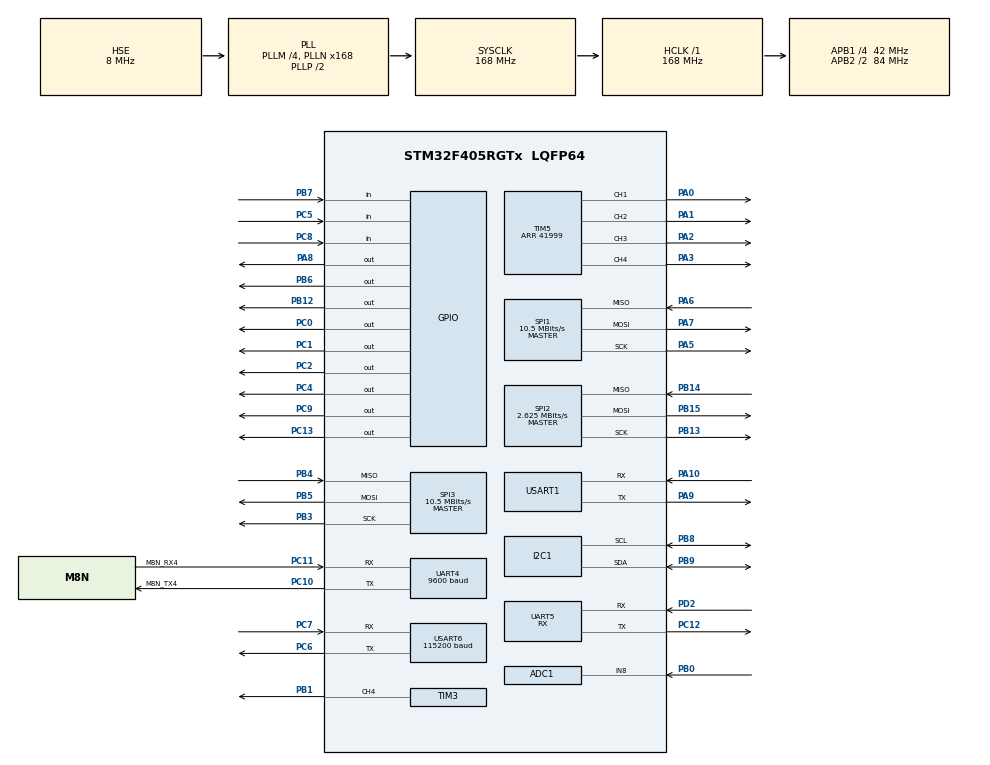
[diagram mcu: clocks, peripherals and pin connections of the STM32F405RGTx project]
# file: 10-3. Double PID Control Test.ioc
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ADC1.Channel-0\#ChannelRegularConversion=ADC_CHANNEL_8
ADC1.ClockPrescaler=ADC_CLOCK_SYNC_PCLK_DIV8
ADC1.ContinuousConvMode=ENABLE
ADC1.DMAContinuousRequests=ENABLE
ADC1.NbrOfConversionFlag=1
ADC1.Rank-0\#ChannelRegularConversion=1
ADC1.SamplingTime-0\#ChannelRegularConversion=ADC_SAMPLETIME_480CYCLES
ADC1.master=1
Dma.ADC1.0.Direction=DMA_PERIPH_TO_MEMORY
Dma.ADC1.0.FIFOMode=DMA_FIFOMODE_DISABLE
Dma.ADC1.0.Instance=DMA2_Stream0
Dma.ADC1.0.MemDataAlignment=DMA_MDATAALIGN_HALFWORD
Dma.ADC1.0.MemInc=DMA_MINC_DISABLE
Dma.ADC1.0.Mode=DMA_CIRCULAR
Dma.ADC1.0.PeriphDataAlignment=DMA_PDATAALIGN_HALFWORD
Dma.ADC1.0.PeriphInc=DMA_PINC_DISABLE
Dma.ADC1.0.Priority=DMA_PRIORITY_LOW
Dma.Request0=ADC1
I2C1.I2C_Mode=I2C_Fast
Mcu.Family=STM32F4
Mcu.Name=STM32F405RGTx
Mcu.Package=LQFP64
NVIC.DMA2_Stream0_IRQn=true\:0\:0\:false\:false\:true\:false\:true
NVIC.PriorityGroup=NVIC_PRIORITYGROUP_4
NVIC.TIM7_IRQn=true\:0\:0\:false\:false\:true\:true\:true
NVIC.UART4_IRQn=true\:0\:0\:false\:false\:true\:true\:true
NVIC.UART5_IRQn=true\:0\:0\:false\:false\:true\:true\:true
NVIC.USART1_IRQn=true\:0\:0\:false\:false\:true\:true\:true
NVIC.USART6_IRQn=true\:0\:0\:false\:false\:true\:true\:true
PA0-WKUP.Signal=S_TIM5_CH1
PA1.Signal=S_TIM5_CH2
PA10.Mode=Asynchronous
PA10.Signal=USART1_RX
PA2.Signal=S_TIM5_CH3
PA3.Signal=S_TIM5_CH4
PA5.Mode=Full_Duplex_Master
PA5.Signal=SPI1_SCK
PA6.Mode=Full_Duplex_Master
PA6.Signal=SPI1_MISO
PA7.Mode=Full_Duplex_Master
PA7.Signal=SPI1_MOSI
PA8.Signal=GPIO_Output
PA9.Mode=Asynchronous
PA9.Signal=USART1_TX
PB0.Signal=ADCx_IN8
PB1.Signal=S_TIM3_CH4
PB12.Signal=GPIO_Output
PB13.Mode=Full_Duplex_Master
PB13.Signal=SPI2_SCK
PB14.Mode=Full_Duplex_Master
PB14.Signal=SPI2_MISO
PB15.Mode=Full_Duplex_Master
PB15.Signal=SPI2_MOSI
PB3.Mode=Full_Duplex_Master
PB3.Signal=SPI3_SCK
PB4.Mode=Full_Duplex_Master
PB4.Signal=SPI3_MISO
PB5.Mode=Full_Duplex_Master
PB5.Signal=SPI3_MOSI
PB6.Signal=GPIO_Output
PB7.Signal=GPIO_Input
PB8.Mode=I2C
PB8.Signal=I2C1_SCL
PB9.Mode=I2C
PB9.Signal=I2C1_SDA
PC0.Signal=GPIO_Output
PC1.Signal=GPIO_Output
PC10.GPIO_Label=M8N_TX4
PC10.Mode=Asynchronous
PC10.Signal=UART4_TX
PC11.GPIO_Label=M8N_RX4
PC11.Mode=Asynchronous
PC11.Signal=UART4_RX
PC12.Mode=Asynchronous
PC12.Signal=UART5_TX
PC13-ANTI_TAMP.PinState=GPIO_PIN_SET
PC13-ANTI_TAMP.Signal=GPIO_Output
PC2.Signal=GPIO_Output
PC4.Signal=GPIO_Output
PC5.Signal=GPIO_Input
PC6.Mode=Asynchronous
PC6.Signal=USART6_TX
PC7.Mode=Asynchronous
PC7.Signal=USART6_RX
PC8.Signal=GPIO_Input
PC9.Signal=GPIO_Output
PD2.Mode=Asynchronous
PD2.Signal=UART5_RX
PH0-OSC_IN.Mode=HSE-External-Oscillator
PH0-OSC_IN.Signal=RCC_OSC_IN
PH1-OSC_OUT.Mode=HSE-External-Oscillator
PH1-OSC_OUT.Signal=RCC_OSC_OUT
ProjectManager.HeapSize=0x200
ProjectManager.StackSize=0x400
ProjectManager.TargetToolchain=STM32CubeIDE
RCC.48MHZClocksFreq_Value=84000000
RCC.AHBFreq_Value=168000000
RCC.APB1CLKDivider=RCC_HCLK_DIV4
RCC.APB1Freq_Value=42000000
RCC.APB1TimFreq_Value=84000000
RCC.APB2CLKDivider=RCC_HCLK_DIV2
RCC.APB2Freq_Value=84000000
RCC.APB2TimFreq_Value=168000000
RCC.CortexFreq_Value=168000000
RCC.HCLKFreq_Value=168000000
RCC.HSE_VALUE=8000000
RCC.HSI_VALUE=16000000
RCC.LSE_VALUE=32768
RCC.PLLM=4
RCC.PLLN=168
RCC.PLLSourceVirtual=RCC_PLLSOURCE_HSE
RCC.SYSCLKFreq_VALUE=168000000
RCC.SYSCLKSource=RCC_SYSCLKSOURCE_PLLCLK
RCC.VCOOutputFreq_Value=336000000
SH.ADCx_IN8.0=ADC1_IN8,IN8
SH.S_TIM3_CH4.0=TIM3_CH4,PWM Generation4 CH4
SH.S_TIM5_CH1.0=TIM5_CH1,PWM Generation1 CH1
SH.S_TIM5_CH2.0=TIM5_CH2,PWM Generation2 CH2
SH.S_TIM5_CH3.0=TIM5_CH3,PWM Generation3 CH3
SH.S_TIM5_CH4.0=TIM5_CH4,PWM Generation4 CH4
SPI1.BaudRatePrescaler=SPI_BAUDRATEPRESCALER_8
SPI1.CLKPhase=SPI_PHASE_2EDGE
SPI1.CLKPolarity=SPI_POLARITY_HIGH
SPI1.CalculateBaudRate=10.5 MBits/s
SPI1.Direction=SPI_DIRECTION_2LINES
SPI1.Mode=SPI_MODE_MASTER
SPI1.VirtualType=VM_MASTER
SPI2.BaudRatePrescaler=SPI_BAUDRATEPRESCALER_16
SPI2.CLKPhase=SPI_PHASE_2EDGE
SPI2.CLKPolarity=SPI_POLARITY_HIGH
SPI2.CalculateBaudRate=2.625 MBits/s
SPI2.Direction=SPI_DIRECTION_2LINES
SPI2.Mode=SPI_MODE_MASTER
SPI2.VirtualType=VM_MASTER
SPI3.BaudRatePrescaler=SPI_BAUDRATEPRESCALER_4
SPI3.CLKPhase=SPI_PHASE_2EDGE
SPI3.CLKPolarity=SPI_POLARITY_HIGH
SPI3.CalculateBaudRate=10.5 MBits/s
SPI3.Direction=SPI_DIRECTION_2LINES
SPI3.Mode=SPI_MODE_MASTER
SPI3.VirtualType=VM_MASTER
TIM3.AutoReloadPreload=TIM_AUTORELOAD_PRELOAD_ENABLE
TIM3.Channel-PWM\ Generation4\ CH4=TIM_CHANNEL_4
TIM3.OCFastMode_PWM-PWM\ Generation4\ CH4=TIM_OCFAST_ENABLE
TIM3.Period=20
TIM3.Prescaler=999
TIM3.Pulse-PWM\ Generation4\ CH4=10
TIM5.AutoReloadPreload=TIM_AUTORELOAD_PRELOAD_ENABLE
TIM5.Channel-PWM\ Generation1\ CH1=TIM_CHANNEL_1
TIM5.Channel-PWM\ Generation2\ CH2=TIM_CHANNEL_2
TIM5.Channel-PWM\ Generation3\ CH3=TIM_CHANNEL_3
TIM5.Channel-PWM\ Generation4\ CH4=TIM_CHANNEL_4
TIM5.OCFastMode_PWM-PWM\ Generation1\ CH1=TIM_OCFAST_ENABLE
TIM5.OCFastMode_PWM-PWM\ Generation2\ CH2=TIM_OCFAST_ENABLE
TIM5.OCFastMode_PWM-PWM\ Generation3\ CH3=TIM_OCFAST_ENABLE
TIM5.OCFastMode_PWM-PWM\ Generation4\ CH4=TIM_OCFAST_ENABLE
TIM5.Period=41999
TIM5.Pulse-PWM\ Generation1\ CH1=0
TIM5.Pulse-PWM\ Generation2\ CH2=0
TIM5.Pulse-PWM\ Generation3\ CH3=0
TIM7.AutoReloadPreload=TIM_AUTORELOAD_PRELOAD_ENABLE
TIM7.Period=1
TIM7.Prescaler=41999
UART4.BaudRate=9600
UART4.VirtualMode=Asynchronous
UART5.Mode=MODE_RX
UART5.VirtualMode=Asynchronous
USART1.VirtualMode=VM_ASYNC
USART6.BaudRate=115200
USART6.VirtualMode=VM_ASYNC
VP_TIM3_VS_ClockSourceINT.Mode=Internal
VP_TIM5_VS_ClockSourceINT.Mode=Internal
VP_TIM7_VS_ClockSourceINT.Mode=Enable_Timer
board=custom

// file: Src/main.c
/* USER CODE BEGIN Header */
/**
  ******************************************************************************
  * @file           : main.c
  * @brief          : Main program body
  ******************************************************************************
  * @attention
  *
  * <h2><center>&copy; Copyright (c) 2019 STMicroelectronics.
  * All rights reserved.</center></h2>
  *
  * This software component is licensed by ST under BSD 3-Clause license,
  * the "License"; You may not use this file except in compliance with the
  * License. You may obtain a copy of the License at:
  *                        opensource.org/licenses/BSD-3-Clause
  *
  ******************************************************************************
  */
/* USER CODE END Header */

#include "main.h"
#include "adc.h"
#include "dma.h"
#include "i2c.h"
#include "spi.h"
#include "tim.h"
#include "usart.h"
#include "gpio.h"

/* USER CODE BEGIN Includes */
#include "bno080.h"
#include "quaternion.h"
#include "icm20602.h"
#include "lps22hh.h"
#include "M8N.h"
#include "FS-iA6B.h"
#include "AT24C08.h"
#include <string.h>
/* USER CODE END Includes */

/* USER CODE BEGIN PTD */
int _write(int file, char* p, int len)
{
	for(int i=0;i<len;i++)
	{
		while(!LL_USART_IsActiveFlag_TXE(USART6));
		LL_USART_TransmitData8(USART6, *(p+i));
	}
	return len;
}
/* USER CODE END PTD */

/* USER CODE BEGIN PV */
extern uint8_t uart6_rx_flag;
extern uint8_t uart6_rx_data;

extern uint8_t m8n_rx_buf[36];
extern uint8_t m8n_rx_cplt_flag;

extern uint8_t ibus_rx_buf[32];
extern uint8_t ibus_rx_cplt_flag;

extern uint8_t uart1_rx_data;

extern uint8_t tim7_1ms_flag;
extern uint8_t tim7_20ms_flag;
extern uint8_t tim7_100ms_flag;
extern uint8_t tim7_1000ms_flag;

uint8_t telemetry_tx_buf[40];
uint8_t telemetry_rx_buf[20];
uint8_t telemetry_rx_cplt_flag;
float batVolt;

float roll_in_kp;
float roll_in_ki;
float roll_in_kd;

float roll_out_kp;
float roll_out_ki;
float roll_out_kd;

float pitch_in_kp;
float pitch_in_ki;
float pitch_in_kd;

float pitch_out_kp;
float pitch_out_ki;
float pitch_out_kd;

float yaw_heading_kp;
float yaw_heading_ki;
float yaw_heading_kd;

float yaw_rate_kp;
float yaw_rate_ki;
float yaw_rate_kd;

unsigned char failsafe_flag = 0;
unsigned char low_bat_flag = 0;
/* USER CODE END PV */

void SystemClock_Config(void);
/* USER CODE BEGIN PFP */
int Is_iBus_Throttle_Min(void);
void ESC_Calibration(void);
int Is_iBus_Received(void);
void BNO080_Calibration(void);
void Encode_Msg_AHRS(unsigned char* telemetry_tx_buf);
void Encode_Msg_GPS(unsigned char* telemetry_tx_buf);
void Encode_Msg_PID_Gain(unsigned char* telemetry_tx_buf, unsigned char id, float p, float i, float d);
/* USER CODE END PFP */

int main(void)
{
  /* USER CODE BEGIN 1 */
	float q[4];
	float quatRadianAccuracy;
	unsigned char buf_read[16] = {1};
	unsigned char buf_write[16] = {1, 2, 3, 4, 5, 6, 7, 8, 9, 10, 11, 12, 13, 14, 15, 16};
	unsigned short adcVal;

	short gyro_x_offset = 1, gyro_y_offset = -23, gyro_z_offset = -3;
	unsigned char motor_arming_flag = 0;
	unsigned short iBus_SwA_Prev = 0;
	unsigned char iBus_rx_cnt = 0;
	unsigned short ccr1, ccr2, ccr3, ccr4;
	float pitch_reference;
	float pitch_p;
	float pitch_error;
	float pitch_i;
	float pitch_error_sum = 0;
	float pitch_derivative;
	float pitch_d;
	float pitch_pid;

	float pitch_rate_reference;
	float pitch_rate_p;
	float pitch_rate_error;
	float pitch_rate_i;
	float pitch_rate_error_sum = 0;
	float pitch_rate_derivative;
	float pitch_rate_d;
	float pitch_rate_pid;
	float icm20602_gyro_x_prev;
  /* USER CODE END 1 */

  /* MCU Configuration--------------------------------------------------------*/

  /* Reset of all peripherals, Initializes the Flash interface and the Systick. */
  HAL_Init();

  /* Configure the system clock */
  SystemClock_Config();

  /* Initialize all configured peripherals */
  MX_GPIO_Init();
  MX_TIM3_Init();
  MX_USART6_UART_Init();
  MX_SPI2_Init();
  MX_SPI1_Init();
  MX_SPI3_Init();
  MX_UART4_Init();
  MX_UART5_Init();
  MX_TIM5_Init();
  MX_I2C1_Init();
  MX_DMA_Init();
  MX_ADC1_Init();
  MX_USART1_UART_Init();
  MX_TIM7_Init();
  /* USER CODE BEGIN 2 */
  LL_TIM_EnableCounter(TIM3); //Buzzer

  LL_USART_EnableIT_RXNE(USART6); //Debug UART
  LL_USART_EnableIT_RXNE(UART4); //GPS
  LL_USART_EnableIT_RXNE(UART5); //FS-iA6B

  LL_TIM_EnableCounter(TIM5); //Motor PWM
  LL_TIM_CC_EnableChannel(TIM5, LL_TIM_CHANNEL_CH1);
  LL_TIM_CC_EnableChannel(TIM5, LL_TIM_CHANNEL_CH2);
  LL_TIM_CC_EnableChannel(TIM5, LL_TIM_CHANNEL_CH3);
  LL_TIM_CC_EnableChannel(TIM5, LL_TIM_CHANNEL_CH4);

  HAL_ADC_Start_DMA(&hadc1, &adcVal, 1); //Battery ADC

  HAL_UART_Receive_IT(&huart1, &uart1_rx_data, 1); //Telemetry

  LL_TIM_EnableCounter(TIM7); //10Hz, 50Hz, 1kHz loop
  LL_TIM_EnableIT_UPDATE(TIM7);

  TIM3->PSC = 1000;
  LL_TIM_CC_EnableChannel(TIM3, LL_TIM_CHANNEL_CH4);
  HAL_Delay(60);
  LL_TIM_CC_DisableChannel(TIM3, LL_TIM_CHANNEL_CH4);
  HAL_Delay(60);
  LL_TIM_CC_EnableChannel(TIM3, LL_TIM_CHANNEL_CH4);
  HAL_Delay(60);
  LL_TIM_CC_DisableChannel(TIM3, LL_TIM_CHANNEL_CH4);
  HAL_Delay(60);
  printf("Checking sensor connection..\n");

  if(BNO080_Initialization() != 0)
  {
	  LL_TIM_CC_EnableChannel(TIM3, LL_TIM_CHANNEL_CH4);

	  TIM3->PSC = 1000;
	  HAL_Delay(100);
	  TIM3->PSC = 1500;
	  HAL_Delay(100);
	  TIM3->PSC = 2000;
	  HAL_Delay(100);

	  LL_TIM_CC_DisableChannel(TIM3, LL_TIM_CHANNEL_CH4);

	  printf("\nBNO080 failed. Program shutting down...\n");
	  while(1)
	  {
		  LL_TIM_CC_DisableChannel(TIM3, LL_TIM_CHANNEL_CH4);
		  LL_GPIO_TogglePin(GPIOC, LL_GPIO_PIN_0);
		  HAL_Delay(200);
		  LL_TIM_CC_EnableChannel(TIM3, LL_TIM_CHANNEL_CH4);
		  LL_GPIO_TogglePin(GPIOC, LL_GPIO_PIN_0);
		  HAL_Delay(200);
	  }
  }
  BNO080_enableRotationVector(2500);

  if(ICM20602_Initialization() != 0)
  {
	  LL_TIM_CC_EnableChannel(TIM3, LL_TIM_CHANNEL_CH4);

	  TIM3->PSC = 1000;
	  HAL_Delay(100);
	  TIM3->PSC = 1500;
	  HAL_Delay(100);
	  TIM3->PSC = 2000;
	  HAL_Delay(100);

	  LL_TIM_CC_DisableChannel(TIM3, LL_TIM_CHANNEL_CH4);

	  printf("\nICM-20602 failed. Program shutting down...\n");
	  while(1)
	  {
		  LL_TIM_CC_DisableChannel(TIM3, LL_TIM_CHANNEL_CH4);
		  LL_GPIO_TogglePin(GPIOC, LL_GPIO_PIN_1);
		  HAL_Delay(200);
		  LL_TIM_CC_EnableChannel(TIM3, LL_TIM_CHANNEL_CH4);
		  LL_GPIO_TogglePin(GPIOC, LL_GPIO_PIN_1);
		  HAL_Delay(200);
	  }
  }

  if(LPS22HH_Initialization() != 0)
  {
	  LL_TIM_CC_EnableChannel(TIM3, LL_TIM_CHANNEL_CH4);

	  TIM3->PSC = 1000;
	  HAL_Delay(100);
	  TIM3->PSC = 1500;
	  HAL_Delay(100);
	  TIM3->PSC = 2000;
	  HAL_Delay(100);

	  LL_TIM_CC_DisableChannel(TIM3, LL_TIM_CHANNEL_CH4);

	  printf("\nLPS22HH failed. Program shutting down...\n");
	  while(1)
	  {
		  LL_TIM_CC_DisableChannel(TIM3, LL_TIM_CHANNEL_CH4);
		  LL_GPIO_TogglePin(GPIOC, LL_GPIO_PIN_2);
		  HAL_Delay(200);
		  LL_TIM_CC_EnableChannel(TIM3, LL_TIM_CHANNEL_CH4);
		  LL_GPIO_TogglePin(GPIOC, LL_GPIO_PIN_2);
		  HAL_Delay(200);
	  }
  }

  printf("All sensors OK!\n\n");

  M8N_Initialization();

  ICM20602_Writebyte(0x13, (gyro_x_offset*-2)>>8);
  ICM20602_Writebyte(0x14, (gyro_x_offset*-2));

  ICM20602_Writebyte(0x15, (gyro_y_offset*-2)>>8);
  ICM20602_Writebyte(0x16, (gyro_y_offset*-2));

  ICM20602_Writebyte(0x17, (gyro_z_offset*-2)>>8);
  ICM20602_Writebyte(0x18, (gyro_z_offset*-2));

  printf("Loading PID Gain...\n");

  if(EP_PIDGain_Read(0, &roll_in_kp, &roll_in_ki, &roll_in_kd) != 0 ||
		  EP_PIDGain_Read(1, &roll_out_kp, &roll_out_ki, &roll_out_kd) != 0 ||
		  EP_PIDGain_Read(2, &pitch_in_kp, &pitch_in_ki, &pitch_in_kd) != 0 ||
		  EP_PIDGain_Read(3, &pitch_out_kp, &pitch_out_ki, &pitch_out_kd) != 0 ||
		  EP_PIDGain_Read(4, &yaw_heading_kp, &yaw_heading_ki, &yaw_heading_kd) != 0 ||
		  EP_PIDGain_Read(5, &yaw_rate_kp, &yaw_rate_ki, &yaw_rate_kd) != 0)
  {
	  LL_TIM_CC_EnableChannel(TIM3, LL_TIM_CHANNEL_CH4);

	  TIM3->PSC = 1000;
	  HAL_Delay(100);
	  TIM3->PSC = 1500;
	  HAL_Delay(100);
	  TIM3->PSC = 2000;
	  HAL_Delay(100);

	  LL_TIM_CC_DisableChannel(TIM3, LL_TIM_CHANNEL_CH4);

	  HAL_Delay(500);
	  printf("\nCouldn't load PID gain.\n");
  }
  else
  {
	  Encode_Msg_PID_Gain(&telemetry_tx_buf[0], 0, roll_in_kp, roll_in_ki, roll_in_kd);
	  HAL_UART_Transmit(&huart1, &telemetry_tx_buf[0], 20, 10);
	  Encode_Msg_PID_Gain(&telemetry_tx_buf[0], 1, roll_out_kp, roll_out_ki, roll_out_kd);
	  HAL_UART_Transmit(&huart1, &telemetry_tx_buf[0], 20, 10);
	  Encode_Msg_PID_Gain(&telemetry_tx_buf[0], 2, pitch_in_kp, pitch_in_ki, pitch_in_kd);
	  HAL_UART_Transmit(&huart1, &telemetry_tx_buf[0], 20, 10);
	  Encode_Msg_PID_Gain(&telemetry_tx_buf[0], 3, pitch_out_kp, pitch_out_ki, pitch_out_kd);
	  HAL_UART_Transmit(&huart1, &telemetry_tx_buf[0], 20, 10);
	  Encode_Msg_PID_Gain(&telemetry_tx_buf[0], 4, yaw_heading_kp, yaw_heading_ki, yaw_heading_kd);
	  HAL_UART_Transmit(&huart1, &telemetry_tx_buf[0], 20, 10);
	  Encode_Msg_PID_Gain(&telemetry_tx_buf[0], 5, yaw_rate_kp, yaw_rate_ki, yaw_rate_kd);
	  HAL_UART_Transmit(&huart1, &telemetry_tx_buf[0], 20, 10);
	  printf("\nAll gains OK!\n\n");
  }

  while(Is_iBus_Received() == 0)
  {
	  LL_TIM_CC_EnableChannel(TIM3, LL_TIM_CHANNEL_CH4);

	  TIM3->PSC = 3000;
	  HAL_Delay(200);
	  LL_TIM_CC_DisableChannel(TIM3, LL_TIM_CHANNEL_CH4);
	  HAL_Delay(200);
  }

  if(iBus.SwC == 2000)
  {
	  LL_TIM_CC_EnableChannel(TIM3, LL_TIM_CHANNEL_CH4);

	  TIM3->PSC = 1500;
	  HAL_Delay(200);
	  TIM3->PSC = 2000;
	  HAL_Delay(200);
	  TIM3->PSC = 1500;
	  HAL_Delay(200);
	  TIM3->PSC = 2000;
	  HAL_Delay(200);
	  LL_TIM_CC_DisableChannel(TIM3, LL_TIM_CHANNEL_CH4);

	  ESC_Calibration();
	  while(iBus.SwC != 1000)
	  {
		  Is_iBus_Received();
		  LL_TIM_CC_EnableChannel(TIM3, LL_TIM_CHANNEL_CH4);

		  TIM3->PSC = 1500;
		  HAL_Delay(200);
		  TIM3->PSC = 2000;
		  HAL_Delay(200);
		  LL_TIM_CC_DisableChannel(TIM3, LL_TIM_CHANNEL_CH4);
	  }
  }
  else if(iBus.SwC == 1500)
  {
	  LL_TIM_CC_EnableChannel(TIM3, LL_TIM_CHANNEL_CH4);

	  TIM3->PSC = 1500;
	  HAL_Delay(200);
	  TIM3->PSC = 2000;
	  HAL_Delay(200);
	  TIM3->PSC = 1500;
	  HAL_Delay(200);
	  TIM3->PSC = 2000;
	  HAL_Delay(200);
	  LL_TIM_CC_DisableChannel(TIM3, LL_TIM_CHANNEL_CH4);

	  BNO080_Calibration();
	  while(iBus.SwC != 1000)
	  {
		  Is_iBus_Received();
		  LL_TIM_CC_EnableChannel(TIM3, LL_TIM_CHANNEL_CH4);

		  TIM3->PSC = 1500;
		  HAL_Delay(200);
		  TIM3->PSC = 2000;
		  HAL_Delay(200);
		  LL_TIM_CC_DisableChannel(TIM3, LL_TIM_CHANNEL_CH4);
	  }
  }
//
//
  while(Is_iBus_Throttle_Min() == 0 || iBus.SwA == 2000)
  {
	  LL_TIM_CC_EnableChannel(TIM3, LL_TIM_CHANNEL_CH4);

	  TIM3->PSC = 1000;
	  HAL_Delay(70);
	  LL_TIM_CC_DisableChannel(TIM3, LL_TIM_CHANNEL_CH4);
	  HAL_Delay(70);
  }

  LL_TIM_CC_EnableChannel(TIM3, LL_TIM_CHANNEL_CH4);

  TIM3->PSC = 2000;
  HAL_Delay(100);
  TIM3->PSC = 1500;
  HAL_Delay(100);
  TIM3->PSC = 1000;
  HAL_Delay(100);

  LL_TIM_CC_DisableChannel(TIM3, LL_TIM_CHANNEL_CH4);

  printf("Start\n");

  /* USER CODE END 2 */

  /* Infinite loop */
  while (1)
  {

    /* USER CODE BEGIN 3 */
	  if(tim7_1ms_flag == 1)
	  {
		  tim7_1ms_flag = 0;

		  pitch_reference = (iBus.RV - 1500) * 0.1f;
		  pitch_error = pitch_reference - BNO080_Pitch;
		  pitch_p = pitch_error * pitch_out_kp;

		  pitch_error_sum = pitch_error_sum + pitch_error * 0.001;
		  if(motor_arming_flag == 0 || iBus.LV < 1030) pitch_error_sum = 0;
		  pitch_i = pitch_error_sum * pitch_out_ki;

//		  pitch_derivative = (BNO080_Pitch - BNO080_Pitch_Prev) / 0.001;
//		  BNO080_Pitch_Prev = BNO080_Pitch;

		  pitch_derivative = ICM20602.gyro_x;
		  pitch_d = -pitch_derivative * pitch_out_kd;

		  pitch_pid = pitch_p + pitch_i + pitch_d;

		  pitch_rate_reference = pitch_pid;
		  pitch_rate_error = pitch_rate_reference - ICM20602.gyro_x;
		  pitch_rate_p = pitch_rate_error * pitch_in_kp;

		  pitch_rate_error_sum = pitch_rate_error_sum + pitch_rate_error * 0.001;
		  if(motor_arming_flag == 0 || iBus.LV < 1030) pitch_rate_error_sum = 0;
		  pitch_rate_i = pitch_rate_error_sum * pitch_in_ki;

		  pitch_rate_derivative = (ICM20602.gyro_x - icm20602_gyro_x_prev) / 0.001;
		  icm20602_gyro_x_prev = ICM20602.gyro_x;
		  pitch_rate_d = -pitch_rate_derivative * pitch_in_kd;

		  pitch_rate_pid = pitch_rate_p + pitch_rate_i + pitch_rate_d;

		  ccr1 = 10500 + 500 + (iBus.LV - 1000) * 10 - pitch_rate_pid;// + (iBus.RH - 1500) * 5 - (iBus.LH - 1500) * 5;
		  ccr2 = 10500 + 500 + (iBus.LV - 1000) * 10 + pitch_rate_pid;// + (iBus.RH - 1500) * 5 + (iBus.LH - 1500) * 5;
		  ccr3 = 10500 + 500 + (iBus.LV - 1000) * 10 + pitch_rate_pid;// - (iBus.RH - 1500) * 5 - (iBus.LH - 1500) * 5;
		  ccr4 = 10500 + 500 + (iBus.LV - 1000) * 10 - pitch_rate_pid;// - (iBus.RH - 1500) * 5 + (iBus.LH - 1500) * 5;

		  //printf("%f\t%f\n", BNO080_Pitch, ICM20602.gyro_x);
		  //printf("%f\t%f\n", BNO080_Roll, ICM20602.gyro_y);
		  //printf("%f\t%f\n", BNO080_Yaw, ICM20602.gyro_z);
	  }

	  if(iBus.SwA == 2000 && iBus_SwA_Prev != 2000)
	  {
		  if(iBus.LV < 1010)
		  {
			  motor_arming_flag = 1;
		  }
		  else
		  {
			  while(Is_iBus_Throttle_Min() == 0 || iBus.SwA == 2000)
			  {
				  LL_TIM_CC_EnableChannel(TIM3, LL_TIM_CHANNEL_CH4);

				  TIM3->PSC = 1000;
				  HAL_Delay(70);
				  LL_TIM_CC_DisableChannel(TIM3, LL_TIM_CHANNEL_CH4);
				  HAL_Delay(70);
			  }
		  }
	  }
	  iBus_SwA_Prev = iBus.SwA;

	  if(iBus.SwA != 2000)
	  {
		  motor_arming_flag = 0;
	  }

	  if(motor_arming_flag == 1)
	  {
		  if(failsafe_flag == 0)
		  {
			  if(iBus.LV > 1030)
			  {
				  TIM5->CCR1 = ccr1 > 21000 ? 21000 : ccr1 < 11000 ? 11000 : ccr1;
				  TIM5->CCR2 = ccr2 > 21000 ? 21000 : ccr2 < 11000 ? 11000 : ccr2;
				  TIM5->CCR3 = ccr3 > 21000 ? 21000 : ccr3 < 11000 ? 11000 : ccr3;
				  TIM5->CCR4 = ccr4 > 21000 ? 21000 : ccr4 < 11000 ? 11000 : ccr4;
			  }
			  else
			  {
				  TIM5->CCR1 = 11000;
				  TIM5->CCR2 = 11000;
				  TIM5->CCR3 = 11000;
				  TIM5->CCR4 = 11000;
			  }
		  }
		  else
		  {
			  TIM5->CCR1 = 10500;
			  TIM5->CCR2 = 10500;
			  TIM5->CCR3 = 10500;
			  TIM5->CCR4 = 10500;
		  }
	  }
	  else
	  {
		  TIM5->CCR1 = 10500;
		  TIM5->CCR2 = 10500;
		  TIM5->CCR3 = 10500;
		  TIM5->CCR4 = 10500;
	  }

	  if(telemetry_rx_cplt_flag == 1)
	  {
		  telemetry_rx_cplt_flag = 0;

		  if(iBus.SwA == 1000)
		  {
			  unsigned char chksum = 0xff;
			  for(int i=0;i<19;i++) chksum = chksum - telemetry_rx_buf[i];

			  if(chksum == telemetry_rx_buf[19])
			  {
				  LL_TIM_CC_EnableChannel(TIM3, LL_TIM_CHANNEL_CH4);

				  TIM3->PSC = 1000;
				  HAL_Delay(10);

				  LL_TIM_CC_DisableChannel(TIM3, LL_TIM_CHANNEL_CH4);

				  switch(telemetry_rx_buf[2])
				  {
				  case 0:
					  roll_in_kp = *(float*)&telemetry_rx_buf[3];
					  roll_in_ki = *(float*)&telemetry_rx_buf[7];
					  roll_in_kd = *(float*)&telemetry_rx_buf[11];
					  EP_PIDGain_Write(telemetry_rx_buf[2], roll_in_kp, roll_in_ki, roll_in_kd);
					  EP_PIDGain_Read(telemetry_rx_buf[2], &roll_in_kp, &roll_in_ki, &roll_in_kd);
					  Encode_Msg_PID_Gain(&telemetry_tx_buf[0], telemetry_rx_buf[2], roll_in_kp, roll_in_ki, roll_in_kd);
					  HAL_UART_Transmit_IT(&huart1, &telemetry_tx_buf[0], 20);
					  break;
				  case 1:
					  roll_out_kp = *(float*)&telemetry_rx_buf[3];
					  roll_out_ki = *(float*)&telemetry_rx_buf[7];
					  roll_out_kd = *(float*)&telemetry_rx_buf[11];
					  EP_PIDGain_Write(telemetry_rx_buf[2], roll_out_kp, roll_out_ki, roll_out_kd);
					  EP_PIDGain_Read(telemetry_rx_buf[2], &roll_out_kp, &roll_out_ki, &roll_out_kd);
					  Encode_Msg_PID_Gain(&telemetry_tx_buf[0], telemetry_rx_buf[2], roll_out_kp, roll_out_ki, roll_out_kd);
					  HAL_UART_Transmit_IT(&huart1, &telemetry_tx_buf[0], 20);
					  break;
				  case 2:
					  pitch_in_kp = *(float*)&telemetry_rx_buf[3];
					  pitch_in_ki = *(float*)&telemetry_rx_buf[7];
					  pitch_in_kd = *(float*)&telemetry_rx_buf[11];
					  EP_PIDGain_Write(telemetry_rx_buf[2], pitch_in_kp, pitch_in_ki, pitch_in_kd);
					  EP_PIDGain_Read(telemetry_rx_buf[2], &pitch_in_kp, &pitch_in_ki, &pitch_in_kd);
					  Encode_Msg_PID_Gain(&telemetry_tx_buf[0], telemetry_rx_buf[2], pitch_in_kp, pitch_in_ki, pitch_in_kd);
					  HAL_UART_Transmit_IT(&huart1, &telemetry_tx_buf[0], 20);
					  break;
				  case 3:
					  pitch_out_kp = *(float*)&telemetry_rx_buf[3];
					  pitch_out_ki = *(float*)&telemetry_rx_buf[7];
					  pitch_out_kd = *(float*)&telemetry_rx_buf[11];
					  EP_PIDGain_Write(telemetry_rx_buf[2], pitch_out_kp, pitch_out_ki, pitch_out_kd);
					  EP_PIDGain_Read(telemetry_rx_buf[2], &pitch_out_kp, &pitch_out_ki, &pitch_out_kd);
					  Encode_Msg_PID_Gain(&telemetry_tx_buf[0], telemetry_rx_buf[2], pitch_out_kp, pitch_out_ki, pitch_out_kd);
					  HAL_UART_Transmit_IT(&huart1, &telemetry_tx_buf[0], 20);
					  break;
				  case 4:
					  yaw_heading_kp = *(float*)&telemetry_rx_buf[3];
					  yaw_heading_ki = *(float*)&telemetry_rx_buf[7];
					  yaw_heading_kd = *(float*)&telemetry_rx_buf[11];
					  EP_PIDGain_Write(telemetry_rx_buf[2], yaw_heading_kp, yaw_heading_ki, yaw_heading_kd);
					  EP_PIDGain_Read(telemetry_rx_buf[2], &yaw_heading_kp, &yaw_heading_ki, &yaw_heading_kd);
					  Encode_Msg_PID_Gain(&telemetry_tx_buf[0], telemetry_rx_buf[2], yaw_heading_kp, yaw_heading_ki, yaw_heading_kd);
					  HAL_UART_Transmit_IT(&huart1, &telemetry_tx_buf[0], 20);
					  break;
				  case 5:
					  yaw_rate_kp = *(float*)&telemetry_rx_buf[3];
					  yaw_rate_ki = *(float*)&telemetry_rx_buf[7];
					  yaw_rate_kd = *(float*)&telemetry_rx_buf[11];
					  EP_PIDGain_Write(telemetry_rx_buf[2], yaw_rate_kp, yaw_rate_ki, yaw_rate_kd);
					  EP_PIDGain_Read(telemetry_rx_buf[2], &yaw_rate_kp, &yaw_rate_ki, &yaw_rate_kd);
					  Encode_Msg_PID_Gain(&telemetry_tx_buf[0], telemetry_rx_buf[2], yaw_rate_kp, yaw_rate_ki, yaw_rate_kd);
					  HAL_UART_Transmit_IT(&huart1, &telemetry_tx_buf[0], 20);
					  break;
				  case 0x10:
					  switch(telemetry_rx_buf[3])
					  {
					  case 0:
						  Encode_Msg_PID_Gain(&telemetry_tx_buf[0], telemetry_rx_buf[3], roll_in_kp, roll_in_ki, roll_in_kd);
						  HAL_UART_Transmit(&huart1, &telemetry_tx_buf[0], 20, 10);
						  break;
					  case 1:
						  Encode_Msg_PID_Gain(&telemetry_tx_buf[0], telemetry_rx_buf[3], roll_out_kp, roll_out_ki, roll_out_kd);
						  HAL_UART_Transmit(&huart1, &telemetry_tx_buf[0], 20, 10);
						  break;
					  case 2:
						  Encode_Msg_PID_Gain(&telemetry_tx_buf[0], telemetry_rx_buf[3], pitch_in_kp, pitch_in_ki, pitch_in_kd);
						  HAL_UART_Transmit(&huart1, &telemetry_tx_buf[0], 20, 10);
						  break;
					  case 3:
						  Encode_Msg_PID_Gain(&telemetry_tx_buf[0], telemetry_rx_buf[3], pitch_out_kp, pitch_out_ki, pitch_out_kd);
						  HAL_UART_Transmit(&huart1, &telemetry_tx_buf[0], 20, 10);
						  break;
					  case 4:
						  Encode_Msg_PID_Gain(&telemetry_tx_buf[0], telemetry_rx_buf[3], yaw_heading_kp, yaw_heading_ki, yaw_heading_kd);
						  HAL_UART_Transmit(&huart1, &telemetry_tx_buf[0], 20, 10);
						  break;
					  case 5:
						  Encode_Msg_PID_Gain(&telemetry_tx_buf[0], telemetry_rx_buf[3], yaw_rate_kp, yaw_rate_ki, yaw_rate_kd);
						  HAL_UART_Transmit(&huart1, &telemetry_tx_buf[0], 20, 10);
						  break;
					  case 6:
						  Encode_Msg_PID_Gain(&telemetry_tx_buf[0], 0, roll_in_kp, roll_in_ki, roll_in_kd);
						  HAL_UART_Transmit(&huart1, &telemetry_tx_buf[0], 20, 10);
						  Encode_Msg_PID_Gain(&telemetry_tx_buf[0], 1, roll_out_kp, roll_out_ki, roll_out_kd);
						  HAL_UART_Transmit(&huart1, &telemetry_tx_buf[0], 20, 10);
						  Encode_Msg_PID_Gain(&telemetry_tx_buf[0], 2, pitch_in_kp, pitch_in_ki, pitch_in_kd);
						  HAL_UART_Transmit(&huart1, &telemetry_tx_buf[0], 20, 10);
						  Encode_Msg_PID_Gain(&telemetry_tx_buf[0], 3, pitch_out_kp, pitch_out_ki, pitch_out_kd);
						  HAL_UART_Transmit(&huart1, &telemetry_tx_buf[0], 20, 10);
						  Encode_Msg_PID_Gain(&telemetry_tx_buf[0], 4, yaw_heading_kp, yaw_heading_ki, yaw_heading_kd);
						  HAL_UART_Transmit(&huart1, &telemetry_tx_buf[0], 20, 10);
						  Encode_Msg_PID_Gain(&telemetry_tx_buf[0], 5, yaw_rate_kp, yaw_rate_ki, yaw_rate_kd);
						  HAL_UART_Transmit(&huart1, &telemetry_tx_buf[0], 20, 10);
						  break;
					  }
					  break;

				  }
			  }
		  }
	  }

	  if(tim7_20ms_flag == 1 && tim7_100ms_flag != 1)
	  {
		  tim7_20ms_flag = 0;

		  Encode_Msg_AHRS(&telemetry_tx_buf[0]);

		  HAL_UART_Transmit_IT(&huart1, &telemetry_tx_buf[0], 20);
	  }

	  else if(tim7_20ms_flag == 1 && tim7_100ms_flag == 1)
	  {
		  tim7_20ms_flag = 0;
		  tim7_100ms_flag = 0;

		  Encode_Msg_AHRS(&telemetry_tx_buf[0]);
		  Encode_Msg_GPS(&telemetry_tx_buf[20]);

		  HAL_UART_Transmit_IT(&huart1, &telemetry_tx_buf[0], 40);
	  }

	  batVolt = adcVal * 0.003619f;
	  //printf("%d\t%.2f\n", adcVal, batVolt);
	  if(batVolt < 10.0f)
	  {
		  low_bat_flag = 1;
	  }
	  else
	  {
		  low_bat_flag = 0;
	  }

	  if(BNO080_dataAvailable() == 1)
	  {
		  LL_GPIO_TogglePin(GPIOC, LL_GPIO_PIN_0);

		  q[0] = BNO080_getQuatI();
		  q[1] = BNO080_getQuatJ();
		  q[2] = BNO080_getQuatK();
		  q[3] = BNO080_getQuatReal();
		  quatRadianAccuracy = BNO080_getQuatRadianAccuracy();

		  Quaternion_Update(&q[0]);

		  BNO080_Roll = -BNO080_Roll;
		  BNO080_Pitch = -BNO080_Pitch;

		  //printf("%.2f\t%.2f\n", BNO080_Roll, BNO080_Pitch);
		  //printf("%.2f\n", BNO080_Yaw);
	  }

	  if(ICM20602_DataReady() == 1)
	  {
		  LL_GPIO_TogglePin(GPIOC, LL_GPIO_PIN_1);

		  ICM20602_Get3AxisGyroRawData(&ICM20602.gyro_x_raw);

		  ICM20602.gyro_x = ICM20602.gyro_x_raw * 2000.f / 32768.f;
		  ICM20602.gyro_y = ICM20602.gyro_y_raw * 2000.f / 32768.f;
		  ICM20602.gyro_z = ICM20602.gyro_z_raw * 2000.f / 32768.f;

		  ICM20602.gyro_x = -ICM20602.gyro_x;
		  ICM20602.gyro_z = -ICM20602.gyro_z;

		  //printf("%d,%d,%d\n", ICM20602.gyro_x_raw, ICM20602.gyro_y_raw, ICM20602.gyro_z_raw);
		  //printf("%d,%d,%d\n", (int)(ICM20602.gyro_x*100), (int)(ICM20602.gyro_y*100), (int)(ICM20602.gyro_z*100));
	  }

	  if(LPS22HH_DataReady() == 1)
	  {
		  LPS22HH_GetPressure(&LPS22HH.pressure_raw);
		  LPS22HH_GetTemperature(&LPS22HH.temperature_raw);

		  LPS22HH.baroAlt = getAltitude2(LPS22HH.pressure_raw/4096.f, LPS22HH.temperature_raw/100.f);

#define X 0.90f
		  LPS22HH.baroAltFilt = LPS22HH.baroAltFilt * X + LPS22HH.baroAlt * (1.0f - X);

		  //printf("%d,%d\n", (int)(LPS22HH.baroAlt*100), (int)(LPS22HH.baroAltFilt*100));
	  }

	  if(m8n_rx_cplt_flag == 1)
	  {
		  m8n_rx_cplt_flag = 0;

		  if(M8N_UBX_CHKSUM_Check(&m8n_rx_buf[0], 36) == 1)
		  {
			  LL_GPIO_TogglePin(GPIOC, LL_GPIO_PIN_2);
			  M8N_UBX_NAV_POSLLH_Parsing(&m8n_rx_buf[0], &posllh);

			  //printf("LAT: %ld\tLON: %ld\tHeight: %ld\n", posllh.lat, posllh.lon, posllh.height);
		  }
	  }

	  if(ibus_rx_cplt_flag == 1)
	  {
		  ibus_rx_cplt_flag = 0;
		  if(iBus_Check_CHKSUM(&ibus_rx_buf[0], 32) == 1)
		  {
			  LL_GPIO_TogglePin(GPIOC, LL_GPIO_PIN_2);

			  iBus_Parsing(&ibus_rx_buf[0], &iBus);
			  iBus_rx_cnt++;

			  if(iBus_isActiveFailsafe(&iBus) == 1)
			  {
				  failsafe_flag = 1;
			  }
			  else
			  {
				  failsafe_flag = 0;
			  }
//			  printf("%d\t%d\t%d\t%d\t%d\t%d\n",
//					  iBus.RH, iBus.RV, iBus.LV, iBus.LH, iBus.SwA, iBus.SwC);
//			  HAL_Delay(100);
		  }
	  }

	  if(tim7_1000ms_flag == 1)
	  {
		  tim7_1000ms_flag = 0;
		  if(iBus_rx_cnt == 0)
		  {
			  failsafe_flag = 2;
		  }
		  iBus_rx_cnt = 0;
	  }

	  if(failsafe_flag == 1 || failsafe_flag == 2 || low_bat_flag == 1 || iBus.SwC == 2000)
	  {
		  LL_TIM_CC_EnableChannel(TIM3, LL_TIM_CHANNEL_CH4);
	  }
	  else
	  {
		  LL_TIM_CC_DisableChannel(TIM3, LL_TIM_CHANNEL_CH4);
	  }

  }
  /* USER CODE END 3 */
}

void SystemClock_Config(void)
{
  RCC_OscInitTypeDef RCC_OscInitStruct = {0};
  RCC_ClkInitTypeDef RCC_ClkInitStruct = {0};

  /** Configure the main internal regulator output voltage
  */
  __HAL_RCC_PWR_CLK_ENABLE();
  __HAL_PWR_VOLTAGESCALING_CONFIG(PWR_REGULATOR_VOLTAGE_SCALE1);
  /** Initializes the CPU, AHB and APB busses clocks
  */
  RCC_OscInitStruct.OscillatorType = RCC_OSCILLATORTYPE_HSE;
  RCC_OscInitStruct.HSEState = RCC_HSE_ON;
  RCC_OscInitStruct.PLL.PLLState = RCC_PLL_ON;
  RCC_OscInitStruct.PLL.PLLSource = RCC_PLLSOURCE_HSE;
  RCC_OscInitStruct.PLL.PLLM = 4;
  RCC_OscInitStruct.PLL.PLLN = 168;
  RCC_OscInitStruct.PLL.PLLP = RCC_PLLP_DIV2;
  RCC_OscInitStruct.PLL.PLLQ = 4;
  if (HAL_RCC_OscConfig(&RCC_OscInitStruct) != HAL_OK)
  {
    Error_Handler();
  }
  /** Initializes the CPU, AHB and APB busses clocks
  */
  RCC_ClkInitStruct.ClockType = RCC_CLOCKTYPE_HCLK|RCC_CLOCKTYPE_SYSCLK
                              |RCC_CLOCKTYPE_PCLK1|RCC_CLOCKTYPE_PCLK2;
  RCC_ClkInitStruct.SYSCLKSource = RCC_SYSCLKSOURCE_PLLCLK;
  RCC_ClkInitStruct.AHBCLKDivider = RCC_SYSCLK_DIV1;
  RCC_ClkInitStruct.APB1CLKDivider = RCC_HCLK_DIV4;
  RCC_ClkInitStruct.APB2CLKDivider = RCC_HCLK_DIV2;

  if (HAL_RCC_ClockConfig(&RCC_ClkInitStruct, FLASH_LATENCY_5) != HAL_OK)
  {
    Error_Handler();
  }
}

/* USER CODE BEGIN 4 */
int Is_iBus_Throttle_Min(void)
{
	if(ibus_rx_cplt_flag == 1)
	{
		ibus_rx_cplt_flag = 0;
		if(iBus_Check_CHKSUM(&ibus_rx_buf[0], 32) == 1)
		{
			iBus_Parsing(&ibus_rx_buf[0], &iBus);
			if(iBus.LV < 1010) return 1;
		}
	}

	return 0;
}

void ESC_Calibration(void)
{
	  TIM5->CCR1 = 21000;
	  TIM5->CCR2 = 21000;
	  TIM5->CCR3 = 21000;
	  TIM5->CCR4 = 21000;
	  HAL_Delay(7000);
	  TIM5->CCR1 = 10500;
	  TIM5->CCR2 = 10500;
	  TIM5->CCR3 = 10500;
	  TIM5->CCR4 = 10500;
	  HAL_Delay(8000);
}

int Is_iBus_Received(void)
{
	if(ibus_rx_cplt_flag == 1)
	{
		ibus_rx_cplt_flag = 0;
		if(iBus_Check_CHKSUM(&ibus_rx_buf[0], 32) == 1)
		{
			iBus_Parsing(&ibus_rx_buf[0], &iBus);
			return 1;
		}
	}

	return 0;
}

void BNO080_Calibration(void)
{
	//Resets BNO080 to disable All output
	BNO080_Initialization();

	//BNO080/BNO085 Configuration
	//Enable dynamic calibration for accelerometer, gyroscope, and magnetometer
	//Enable Game Rotation Vector output
	//Enable Magnetic Field output
	BNO080_calibrateAll(); //Turn on cal for Accel, Gyro, and Mag
	BNO080_enableGameRotationVector(20000); //Send data update every 20ms (50Hz)
	BNO080_enableMagnetometer(20000); //Send data update every 20ms (50Hz)

	//Once magnetic field is 2 or 3, run the Save DCD Now command
  	printf("Calibrating BNO080. Pull up FS-i6 SWC to end calibration and save to flash\n");
  	printf("Output in form x, y, z, in uTesla\n\n");

	//while loop for calibration procedure
	//Iterates until iBus.SwC is mid point (1500)
	//Calibration procedure should be done while this loop is in iteration.
	while(iBus.SwC == 1500)
	{
		if(BNO080_dataAvailable() == 1)
		{
			//Observing the status bit of the magnetic field output
			float x = BNO080_getMagX();
			float y = BNO080_getMagY();
			float z = BNO080_getMagZ();
			unsigned char accuracy = BNO080_getMagAccuracy();

			float quatI = BNO080_getQuatI();
			float quatJ = BNO080_getQuatJ();
			float quatK = BNO080_getQuatK();
			float quatReal = BNO080_getQuatReal();
			unsigned char sensorAccuracy = BNO080_getQuatAccuracy();

			printf("%f,%f,%f,", x, y, z);
			if (accuracy == 0) printf("Unreliable\t");
			else if (accuracy == 1) printf("Low\t");
			else if (accuracy == 2) printf("Medium\t");
			else if (accuracy == 3) printf("High\t");

			printf("\t%f,%f,%f,%f,", quatI, quatI, quatI, quatReal);
			if (sensorAccuracy == 0) printf("Unreliable\n");
			else if (sensorAccuracy == 1) printf("Low\n");
			else if (sensorAccuracy == 2) printf("Medium\n");
			else if (sensorAccuracy == 3) printf("High\n");

			//Turn the LED and buzzer on when both accuracy and sensorAccuracy is high
			if(accuracy == 3 && sensorAccuracy == 3)
			{
				LL_GPIO_SetOutputPin(GPIOC, LL_GPIO_PIN_0 | LL_GPIO_PIN_1 | LL_GPIO_PIN_2);
				TIM3->PSC = 65000; //Very low frequency
				LL_TIM_CC_EnableChannel(TIM3, LL_TIM_CHANNEL_CH4);
			}
			else
			{
				LL_GPIO_ResetOutputPin(GPIOC, LL_GPIO_PIN_0 | LL_GPIO_PIN_1 | LL_GPIO_PIN_2);
				LL_TIM_CC_DisableChannel(TIM3, LL_TIM_CHANNEL_CH4);
			}
		}

		Is_iBus_Received(); //Refreshes iBus Data for iBus.SwC
		HAL_Delay(100);
	}

	//Ends the loop when iBus.SwC is not mid point
	//Turn the LED and buzzer off
	LL_GPIO_ResetOutputPin(GPIOC, LL_GPIO_PIN_0 | LL_GPIO_PIN_1 | LL_GPIO_PIN_2);
	LL_TIM_CC_DisableChannel(TIM3, LL_TIM_CHANNEL_CH4);

	//Saves the current dynamic calibration data (DCD) to memory
	//Sends command to get the latest calibration status
	BNO080_saveCalibration();
	BNO080_requestCalibrationStatus();

	//Wait for calibration response, timeout if no response
	int counter = 100;
	while(1)
	{
		if(--counter == 0) break;
		if(BNO080_dataAvailable())
		{
			//The IMU can report many different things. We must wait
			//for the ME Calibration Response Status byte to go to zero
			if(BNO080_calibrationComplete() == 1)
			{
				printf("\nCalibration data successfully stored\n");
				LL_TIM_CC_EnableChannel(TIM3, LL_TIM_CHANNEL_CH4);
				TIM3->PSC = 2000;
				HAL_Delay(300);
				TIM3->PSC = 1500;
				HAL_Delay(300);
				LL_TIM_CC_DisableChannel(TIM3, LL_TIM_CHANNEL_CH4);
				HAL_Delay(1000);
				break;
			}
		}
		HAL_Delay(10);
	}
	if(counter == 0)
	{
		printf("\nCalibration data failed to store. Please try again.\n");
		LL_TIM_CC_EnableChannel(TIM3, LL_TIM_CHANNEL_CH4);
		TIM3->PSC = 1500;
		HAL_Delay(300);
		TIM3->PSC = 2000;
		HAL_Delay(300);
		LL_TIM_CC_DisableChannel(TIM3, LL_TIM_CHANNEL_CH4);
		HAL_Delay(1000);
	}

	//BNO080_endCalibration(); //Turns off all calibration
	//In general, calibration should be left on at all times. The BNO080
	//auto-calibrates and auto-records cal data roughly every 5 minutes

	//Resets BNO080 to disable Game Rotation Vector and Magnetometer
	//Enables Rotation Vector
	BNO080_Initialization();
	BNO080_enableRotationVector(2500); //Send data update every 2.5ms (400Hz)
}

void HAL_UART_RxCpltCallback(UART_HandleTypeDef *huart)
{
	static unsigned char cnt = 0;

	if(huart->Instance == USART1)
	{
		HAL_UART_Receive_IT(&huart1, &uart1_rx_data, 1);

		switch(cnt)
		{
		case 0:
			if(uart1_rx_data == 0x47)
			{
				telemetry_rx_buf[cnt] = uart1_rx_data;
				cnt++;
			}
			break;
		case 1:
			if(uart1_rx_data == 0x53)
			{
				telemetry_rx_buf[cnt] = uart1_rx_data;
				cnt++;
			}
			else
				cnt = 0;
			break;
		case 19:
			telemetry_rx_buf[cnt] = uart1_rx_data;
			cnt = 0;
			telemetry_rx_cplt_flag = 1;
			break;
		default:
			telemetry_rx_buf[cnt] = uart1_rx_data;
			cnt++;
			break;
		}
	}
}

void Encode_Msg_AHRS(unsigned char* telemetry_tx_buf)
{
	  telemetry_tx_buf[0] = 0x46;
	  telemetry_tx_buf[1] = 0x43;

	  telemetry_tx_buf[2] = 0x10;

	  telemetry_tx_buf[3] = (short)(BNO080_Roll*100);
	  telemetry_tx_buf[4] = ((short)(BNO080_Roll*100))>>8;

	  telemetry_tx_buf[5] = (short)(BNO080_Pitch*100);
	  telemetry_tx_buf[6] = ((short)(BNO080_Pitch*100))>>8;

//	  telemetry_tx_buf[5] = (short)(ICM20602.gyro_x*100);
//	  telemetry_tx_buf[6] = ((short)(ICM20602.gyro_x*100))>>8;

	  telemetry_tx_buf[7] = (unsigned short)(BNO080_Yaw*100);
	  telemetry_tx_buf[8] = ((unsigned short)(BNO080_Yaw*100))>>8;

	  telemetry_tx_buf[9] = (short)(LPS22HH.baroAltFilt*10);
	  telemetry_tx_buf[10] = ((short)(LPS22HH.baroAltFilt*10))>>8;

	  telemetry_tx_buf[11] = (short)((iBus.RH-1500)*0.1f*100);
	  telemetry_tx_buf[12] = ((short)((iBus.RH-1500)*0.1f*100))>>8;

	  telemetry_tx_buf[13] = (short)((iBus.RV-1500)*0.1f*100);
	  telemetry_tx_buf[14] = ((short)((iBus.RV-1500)*0.1f*100))>>8;

	  telemetry_tx_buf[15] = (unsigned short)((iBus.LH-1000)*0.36f*100);
	  telemetry_tx_buf[16] = ((unsigned short)((iBus.LH-1000)*0.36f*100))>>8;

	  telemetry_tx_buf[17] = (short)(iBus.LV*10);
	  telemetry_tx_buf[18] = ((short)(iBus.LV*10))>>8;

	  telemetry_tx_buf[19] = 0xff;

	  for(int i=0;i<19;i++) telemetry_tx_buf[19] = telemetry_tx_buf[19] - telemetry_tx_buf[i];
}

void Encode_Msg_GPS(unsigned char* telemetry_tx_buf)
{
	  telemetry_tx_buf[0] = 0x46;
	  telemetry_tx_buf[1] = 0x43;

	  telemetry_tx_buf[2] = 0x11;

	  telemetry_tx_buf[3] = posllh.lat;
	  telemetry_tx_buf[4] = posllh.lat>>8;
	  telemetry_tx_buf[5] = posllh.lat>>16;
	  telemetry_tx_buf[6] = posllh.lat>>24;

	  telemetry_tx_buf[7] = posllh.lon;
	  telemetry_tx_buf[8] = posllh.lon>>8;
	  telemetry_tx_buf[9] = posllh.lon>>16;
	  telemetry_tx_buf[10] = posllh.lon>>24;

	  telemetry_tx_buf[11] = (unsigned short)(batVolt*100);
	  telemetry_tx_buf[12] = ((unsigned short)(batVolt*100))>>8;

	  telemetry_tx_buf[13] = iBus.SwA == 1000 ? 0 : 1;
	  telemetry_tx_buf[14] = iBus.SwC == 1000 ? 0 : iBus.SwC == 1500 ? 1 : 2;

	  telemetry_tx_buf[15] = failsafe_flag;

	  telemetry_tx_buf[16] = 0x00;
	  telemetry_tx_buf[17] = 0x00;
	  telemetry_tx_buf[18] = 0x00;

	  telemetry_tx_buf[19] = 0xff;

	  for(int i=0;i<19;i++) telemetry_tx_buf[19] = telemetry_tx_buf[19] - telemetry_tx_buf[i];
}

void Encode_Msg_PID_Gain(unsigned char* telemetry_tx_buf, unsigned char id, float p, float i, float d)
{
	  telemetry_tx_buf[0] = 0x46;
	  telemetry_tx_buf[1] = 0x43;

	  telemetry_tx_buf[2] = id;

//	  memcpy(&telemetry_tx_buf[3], &p, 4);
//	  memcpy(&telemetry_tx_buf[7], &i, 4);
//	  memcpy(&telemetry_tx_buf[11], &d, 4);

	  *(float*)&telemetry_tx_buf[3] = p;
	  *(float*)&telemetry_tx_buf[7] = i;
	  *(float*)&telemetry_tx_buf[11] = d;

	  telemetry_tx_buf[15] = 0x00;
	  telemetry_tx_buf[16] = 0x00;
	  telemetry_tx_buf[17] = 0x00;
	  telemetry_tx_buf[18] = 0x00;

	  telemetry_tx_buf[19] = 0xff;

	  for(int i=0;i<19;i++) telemetry_tx_buf[19] = telemetry_tx_buf[19] - telemetry_tx_buf[i];
}
/* USER CODE END 4 */

void Error_Handler(void)
{
}

/************************ (C) COPYRIGHT STMicroelectronics *****END OF FILE****/
